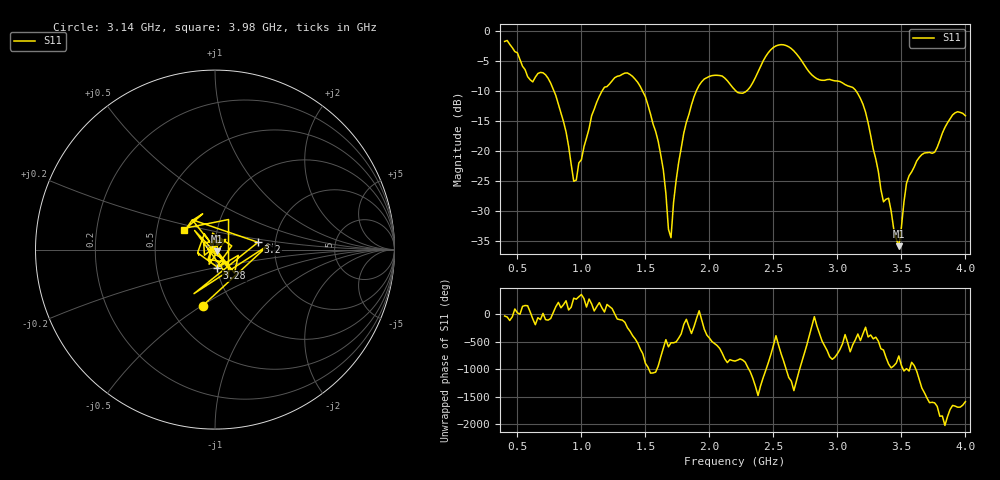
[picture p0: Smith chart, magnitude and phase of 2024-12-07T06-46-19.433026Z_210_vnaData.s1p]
!Created with skrf (http://scikit-rf.org).
# Hz S RI R 50.0
!freq ReS11 ImS11
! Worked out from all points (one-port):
!   181 points, 400 MHz to 4 GHz, reference 50 ohm
!   lowest |S11| = -35.9 dB at 3.48 GHz (marker M1), VSWR 1.03, Z = 51.3 - j0.949 ohm
!   |S11| at or under -10 dB: 784.1 MHz to 1.163 GHz (379.3 MHz wide, 39 % of centre); 1.476 GHz to 1.899 GHz (422.9 MHz wide, 25.1 % of centre); 3.144 GHz to end of sweep (the widest 3 of 4)
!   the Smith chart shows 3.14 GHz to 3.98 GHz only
!   S11 on the Smith chart (normalised r, x): 3.14 GHz: 0.72, -0.50; 3.2 GHz: 1.62, +0.14; 3.28 GHz: 1.00, -0.21; 3.98 GHz: 0.69, +0.15
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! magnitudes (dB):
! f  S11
! 400 MHz  -1.8
! 600 MHz  -8.2
! 740 MHz  -8.0
! 860 MHz  -15.2
! 960 MHz  -24.9
! 1.12 GHz  -11.9
! 1.3 GHz  -7.5
! 1.5 GHz  -11.0
! 1.62 GHz  -20.7
! 1.7 GHz  -34.5
! 1.76 GHz  -22.0
! 1.82 GHz  -15.3
! 1.94 GHz  -8.5
! 2.2 GHz  -9.9
! 2.3 GHz  -9.9
! 2.5 GHz  -2.8
! 2.66 GHz  -3.4
! 2.84 GHz  -8.0
! 3.1 GHz  -9.3
! 3.14 GHz  -9.9
! 3.2 GHz  -12.3
! 3.28 GHz  -19.7
! 3.36 GHz  -28.5
! 3.4 GHz  -28.0
! 3.48 GHz  -35.9
! 3.56 GHz  -24.2
! 3.98 GHz  -13.8
! 4 GHz  -14.2
